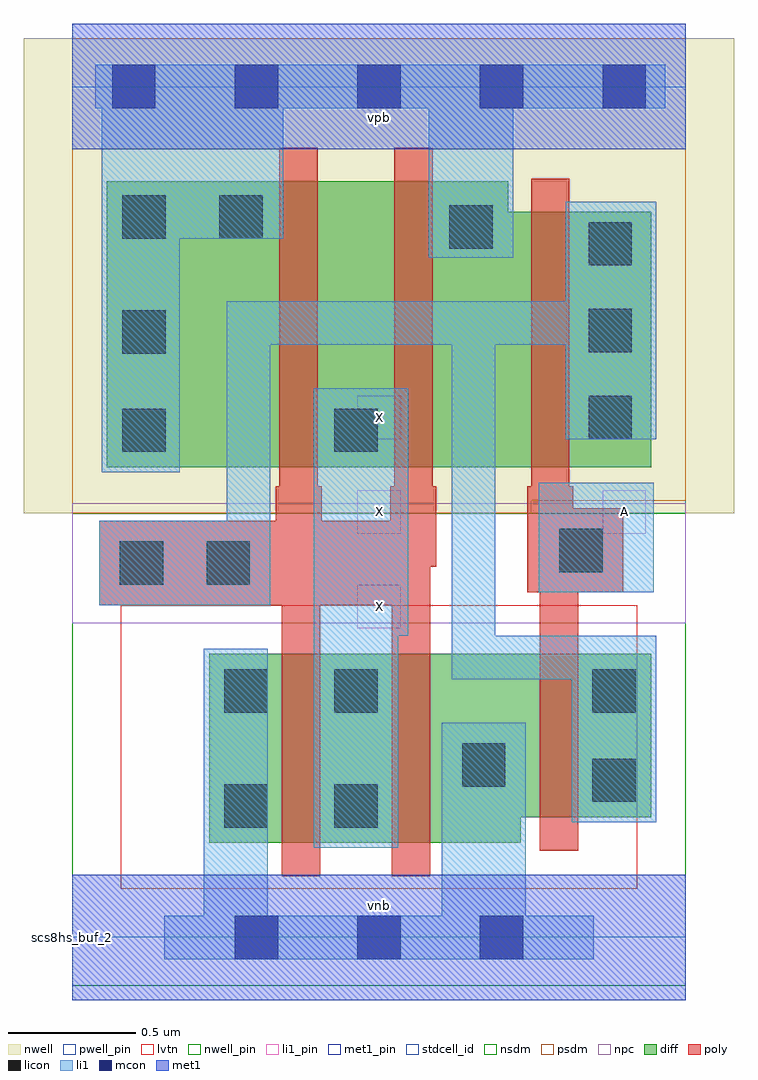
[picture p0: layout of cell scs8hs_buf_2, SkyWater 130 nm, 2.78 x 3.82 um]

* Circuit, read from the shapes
.subckt scs8hs_buf_2 A X vgnd vnb vpb vpwr
XM1 X n1 vgnd vnb sky130_fd_pr__nfet_01v8_lvt w=0.74 l=0.15 m=2
XM2 n1 A vgnd vnb sky130_fd_pr__nfet_01v8_lvt w=0.64 l=0.15
XM3 X n1 vpwr vpb sky130_fd_pr__pfet_01v8 w=1.12 l=0.15 m=2
XM4 n1 A vpwr vpb sky130_fd_pr__pfet_01v8 w=1 l=0.15
.ends

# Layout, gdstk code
import gdstk
lib = gdstk.Library(unit=1e-6, precision=1e-09)
def R(c, l, rs):  # rectangles x0, y0, x1, y1
    for r in rs: c.add(gdstk.rectangle(r[:2], r[2:], *l))
def A(c, l, x, y, w, h, nx, ny, dx, dy):  # array of equal rectangles
    R(c, l, [(x+i*dx, y+j*dy, x+i*dx+w, y+j*dy+h) for i in range(nx) for j in range(ny)])
def P(c, l, *ps):  # polygons
    for p in ps: c.add(gdstk.Polygon(p, *l))
nwell_pin = (64, 16)
nwell = (64, 20)
diff = (65, 20)
poly = (66, 20)
licon = (66, 44)
li1_pin = (67, 16)
li1 = (67, 20)
mcon = (67, 44)
met1_pin = (68, 16)
met1 = (68, 20)
stdcell_id = (81, 4)
nsdm = (93, 44)
psdm = (94, 20)
npc = (95, 20)
pwell_pin = (122, 16)
lvtn = (125, 44)

scs8hs_buf_2 = lib.new_cell('scs8hs_buf_2')
R(scs8hs_buf_2, nwell_pin, [(0,3.085,2.4,3.33)])
R(scs8hs_buf_2, nwell, [(-0.19,1.66,2.59,3.52)])
P(scs8hs_buf_2, diff, [(0.135,1.84),(0.135,2.96),(1.705,2.96),(1.705,2.84),(2.265,2.84),(2.265,1.84)],
  [(0.535,0.37),(0.535,1.11),(2.265,1.11),(2.265,0.47),(1.755,0.47),(1.755,0.37)])
P(scs8hs_buf_2, poly, [(0.82,0.24),(0.82,1.3),(0.105,1.3),(0.105,1.63),(0.795,1.63),(0.795,1.765),(0.81,1.765),(0.81,3.09),(0.96,3.09),(0.96,1.765),(0.975,1.765),(0.975,1.63),(1.245,1.63),(1.245,1.765),(1.26,1.765),(1.26,3.09),(1.41,3.09),(1.41,1.765),(1.425,1.765),(1.425,1.45),(1.4,1.45),(1.4,0.24),(1.25,0.24),(1.25,1.3),(0.97,1.3),(0.97,0.24)],
  [(1.83,0.34),(1.83,1.35),(1.78,1.35),(1.78,1.765),(1.795,1.765),(1.795,2.97),(1.945,2.97),(1.945,1.765),(1.96,1.765),(1.96,1.68),(2.155,1.68),(2.155,1.35),(1.98,1.35),(1.98,0.34)])
A(scs8hs_buf_2, licon, 2.02, 1.95, 0.17, 0.17, 1, 3, 0, 0.34)
R(scs8hs_buf_2, licon, [(0.595,0.43,0.765,0.6), (1.025,0.43,1.195,0.6), (2.035,0.53,2.205,0.7), (1.525,0.59,1.695,0.76), (0.595,0.88,0.765,1.05), (1.025,0.88,1.195,1.05), (2.035,0.88,2.205,1.05), (0.185,1.38,0.355,1.55), (0.525,1.38,0.695,1.55), (1.905,1.43,2.075,1.6), (0.195,1.9,0.365,2.07), (1.025,1.9,1.195,2.07), (0.195,2.285,0.365,2.455), (1.475,2.695,1.645,2.865), (0.195,2.735,0.365,2.905), (0.575,2.735,0.745,2.905)])
A(scs8hs_buf_2, li1_pin, 1.115, 1.21, 0.17, 0.17, 1, 3, 0, 0.37)
R(scs8hs_buf_2, li1_pin, [(2.075,1.58,2.245,1.75)])
R(scs8hs_buf_2, li1, [(1.825,1.35,2.275,1.78)])
P(scs8hs_buf_2, li1, [(0.36,-0.085),(0.36,0.085),(0.515,0.085),(0.515,1.13),(0.765,1.13),(0.765,0.085),(1.445,0.085),(1.445,0.84),(1.775,0.84),(1.775,0.085),(2.04,0.085),(2.04,-0.085)],
  [(0.115,1.82),(0.115,3.245),(0.09,3.245),(0.09,3.415),(2.32,3.415),(2.32,3.245),(1.725,3.245),(1.725,2.66),(1.395,2.66),(1.395,3.245),(0.825,3.245),(0.825,2.735),(0.42,2.735),(0.42,1.82)],
  [(1.955,0.45),(1.955,1.01),(1.485,1.01),(1.485,2.32),(0.775,2.32),(0.775,1.3),(0.105,1.3),(0.105,1.63),(0.605,1.63),(0.605,2.49),(1.93,2.49),(1.93,2.88),(2.285,2.88),(2.285,1.95),(1.93,1.95),(1.93,2.32),(1.655,2.32),(1.655,1.18),(2.285,1.18),(2.285,0.45)],
  [(0.945,0.35),(0.945,2.15),(1.315,2.15),(1.315,1.18),(1.275,1.18),(1.275,0.35)])
A(scs8hs_buf_2, mcon, 0.635, -0.085, 0.17, 0.17, 3, 1, 0.48, 0)
A(scs8hs_buf_2, mcon, 0.155, 3.245, 0.17, 0.17, 5, 1, 0.48, 0)
R(scs8hs_buf_2, met1_pin, [(0,0,2.4,0.245), (0,3.085,2.4,3.33)])
R(scs8hs_buf_2, met1, [(0,-0.245,2.4,0.245), (0,3.085,2.4,3.575)])
R(scs8hs_buf_2, stdcell_id, [(0,0,2.4,3.33)])
R(scs8hs_buf_2, nsdm, [(0,-0.19,2.4,1.66)])
P(scs8hs_buf_2, psdm, [(0,1.66),(0,3.52),(2.4,3.52),(2.4,1.71),(1.795,1.71),(1.795,1.66)])
R(scs8hs_buf_2, npc, [(0,1.23,2.4,1.7)])
R(scs8hs_buf_2, pwell_pin, [(0,0,2.4,0.245)])
R(scs8hs_buf_2, lvtn, [(0.19,0.19,2.21,1.3)])
scs8hs_buf_2.add(gdstk.Label('scs8hs_buf_2', (0,0), layer=83, texttype=44))
scs8hs_buf_2.add(gdstk.Label('vnb', (1.2,0.123), layer=64, texttype=59))
scs8hs_buf_2.add(gdstk.Label('vpb', (1.2,3.208), layer=64, texttype=5))
scs8hs_buf_2.add(gdstk.Label('vpwr', (1.2,3.208), layer=68, texttype=5))
scs8hs_buf_2.add(gdstk.Label('vgnd', (1.2,0.123), layer=68, texttype=5))
scs8hs_buf_2.add(gdstk.Label('A', (2.16,1.665), layer=67, texttype=5))
scs8hs_buf_2.add(gdstk.Label('X', (1.2,1.295), layer=67, texttype=5))
scs8hs_buf_2.add(gdstk.Label('X', (1.2,1.665), layer=67, texttype=5))
scs8hs_buf_2.add(gdstk.Label('X', (1.2,2.035), layer=67, texttype=5))

lib.write_gds('scs8hs_buf_2.gds')
